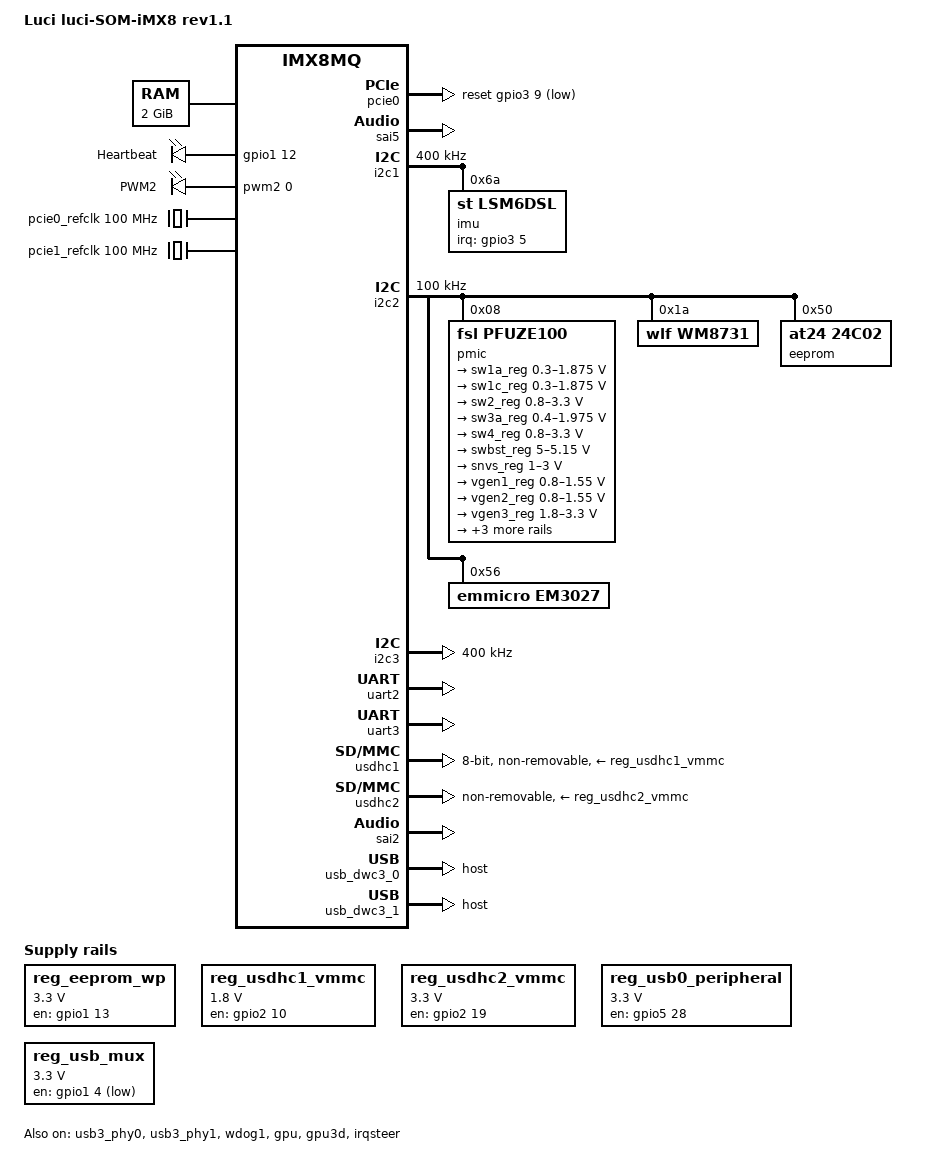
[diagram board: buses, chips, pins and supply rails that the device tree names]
/*
 * Copyright (C) LUCI, LLC. 2022
 *
 * This program is free software; you can redistribute it and/or
 * modify it under the terms of the GNU General Public License
 * as published by the Free Software Foundation; either version 2
 * of the License, or (at your option) any later version.
 *
 * This program is distributed in the hope that it will be useful,
 * but WITHOUT ANY WARRANTY; without even the implied warranty of
 * MERCHANTABILITY or FITNESS FOR A PARTICULAR PURPOSE.  See the
 * GNU General Public License for more details.
 */

/dts-v1/;

#include "../freescale/imx8mq.dtsi"

/ {
	model = "Luci luci-SOM-iMX8 rev1.1";
	compatible = "compulab,cl-som-imx8,rev1.1", "compulab,cl-som-imx8", "fsl,imx8mq";

    chosen {
        stdout-path = &uart3;
    };


	memory@40000000 {
		device_type = "memory";
		reg = <0x00000000 0x40000000 0 0x80000000>;
	};

	reserved-memory {
		#address-cells = <2>;
		#size-cells = <2>;
		ranges;

		rpmsg_reserved: rpmsg@0x78000000 {
			no-map;
			reg = <0 0x78000000 0 0x400000>;
		};
	};

	resmem: reserved-memory {
		#address-cells = <2>;
		#size-cells = <2>;
		ranges;

		/* global autoconfigured region for contiguous allocations */
		linux,cma {
			compatible = "shared-dma-pool";
			reusable;
			size = <0 0x18000000>;
			alloc-ranges = <0 0x40000000 0 0x40000000>;
			linux,cma-default;
		};
	};

	leds {
		compatible = "gpio-leds";
		heartbeat-led {
			label = "Heartbeat";
			gpios = <&gpio1 12 0>;
			linux,default-trigger = "heartbeat";
		};
	};

	regulators {
		compatible = "simple-bus";
		#address-cells = <1>;
		#size-cells = <0>;

		reg_eeprom_wp: eeprom_wp {
			compatible = "regulator-fixed";
			regulator-name = "eeprom_wp";
			regulator-min-microvolt = <3300000>;
			regulator-max-microvolt = <3300000>;
			gpio = <&gpio1 13 GPIO_ACTIVE_HIGH>;
			regulator-always-on;
			enable-active-high;
		};

		reg_usdhc1_vmmc: usdhc1_vmmc {
			compatible = "regulator-fixed";
			regulator-name = "USBHC1_VSD_1V8";
			regulator-min-microvolt = <1800000>;
			regulator-max-microvolt = <1800000>;
			gpio = <&gpio2 10 GPIO_ACTIVE_HIGH>;
			off-on-delay = <20000>;
			enable-active-high;
		};

		reg_usdhc2_vmmc: usdhc2_vmmc {
			compatible = "regulator-fixed";
			regulator-name = "USDHC2_VSD_3V3";
			regulator-min-microvolt = <3300000>;
			regulator-max-microvolt = <3300000>;
			gpio = <&gpio2 19 GPIO_ACTIVE_HIGH>;
			off-on-delay = <20000>;
			enable-active-high;
		};

		reg_usb0_peripheral: usb0_peripheral {
			compatible = "regulator-fixed";
			regulator-name = "usb0_peripheral";
			regulator-min-microvolt = <3300000>;
			regulator-max-microvolt = <3300000>;
			gpio = <&gpio5 28 GPIO_ACTIVE_HIGH>;
			startup-delay-us = <0>;
			enable-active-high;
		};

		reg_usb_mux: usb_mux {
			compatible = "regulator-fixed";
			pinctrl-names = "default";
			pinctrl-0 = <&pinctrl_usbimux1>;
			regulator-name = "usb_mux";
			regulator-min-microvolt = <3300000>;
			regulator-max-microvolt = <3300000>;
			gpio = <&gpio1 4 GPIO_ACTIVE_HIGH>;
			regulator-always-on;
		};
	};

	simple_sound: sound {
		compatible = "simple-audio-card";
		simple-audio-card,name = "compulab-imx8mq";
		simple-audio-card,widgets =
			"Headphone", "Headphone Jack",
			"Line", "Line Out",
			"Microphone", "Mic Jack",
			"Line", "Line In";
		simple-audio-card,routing =
			"Headphone Jack", "RHPOUT",
			"Headphone Jack", "LHPOUT",
			"MICIN", "Mic Bias",
			"Mic Bias", "Mic Jack";
		simple-audio-card,format = "i2s";
		simple-audio-card,bitclock-master = <&sound_master>;
		simple-audio-card,frame-master = <&sound_master>;
		simple-audio-card,bitclock-inversion;

		sound_master: simple-audio-card,cpu {
			sound-dai = <&sai2>;
			system-clock-frequency = <0>;
			system-clock-direction = "out";
		};

		sound_codec: simple-audio-card,codec {
			sound-dai = <&wm8731>;
			system-clock-direction = "in";
			system-clock-type = "mclk";
		};

	};

	pwmleds {
		compatible = "pwm-leds";

		ledpwm2 {
			label = "PWM2";
			pwms = <&pwm2 0 50000>;
			max-brightness = <255>;
		};
	};

	usb0_peripheral_en: usb0_peripheral_en@0 {
		compatible = "userspace-consumer-wrapper";
		comment = "USB0 mode swich host/peripheral enable/disable";

		regulator-name = "usb0_peripheral";
		us-folder-num = <0>;
	};

	pcie0_refclk: pcie0-refclk {
		compatible = "fixed-clock";
		#clock-cells = <0>;
		clock-frequency = <100000000>;
	};

	pcie1_refclk: pcie0-refclk {
		compatible = "fixed-clock";
		#clock-cells = <0>;
		clock-frequency = <100000000>;
	};

    /delete-node/sound-hdmi;
    /delete-node/sound-spdif;
    /delete-node/sound-hdmi-arc;
};

&iomuxc {
    pinctrl-names = "default";
    pinctrl-0 = <&pinctrl_hog>;

    cl-som-imx8 {
		pinctrl_hog: hoggrp {
			fsl,pins = <
				MX8MQ_IOMUXC_GPIO1_IO12_GPIO1_IO12	0x16
				MX8MQ_IOMUXC_GPIO1_IO13_GPIO1_IO13	0x16
			>;
		};

		pinctrl_i2c1: i2c1grp {
			fsl,pins = <
				MX8MQ_IOMUXC_I2C1_SCL_I2C1_SCL	0x4000007f
				MX8MQ_IOMUXC_I2C1_SDA_I2C1_SDA	0x4000007f
			>;
		};

		pinctrl_lsm6dsl: lsm6dsl {
			fsl,pins = <
				MX8MQ_IOMUXC_NAND_CLE_GPIO3_IO5 0x00
			>;
		};

		pinctrl_i2c2: i2c2grp {
			fsl,pins = <
				MX8MQ_IOMUXC_I2C2_SCL_I2C2_SCL	0x4000007f
				MX8MQ_IOMUXC_I2C2_SDA_I2C2_SDA	0x4000007f
			>;
		};

		pinctrl_i2c3: i2c3grp {
			fsl,pins = <
				MX8MQ_IOMUXC_I2C3_SCL_I2C3_SCL	0x4000007f
				MX8MQ_IOMUXC_I2C3_SDA_I2C3_SDA	0x4000007f
			>;
		};

		pinctrl_i2c4: i2c4grp {
			fsl,pins = <
				MX8MQ_IOMUXC_I2C4_SCL_I2C4_SCL	0x4000007f
				MX8MQ_IOMUXC_I2C4_SDA_I2C4_SDA	0x4000007f
			>;
		};

		pinctrl_ecspi1: ecspi1grp {
			fsl,pins = <
				MX8MQ_IOMUXC_ECSPI1_SCLK_ECSPI1_SCLK 	0x82
				MX8MQ_IOMUXC_ECSPI1_MOSI_ECSPI1_MOSI	0x82
				MX8MQ_IOMUXC_ECSPI1_MISO_ECSPI1_MISO	0x82
				MX8MQ_IOMUXC_ECSPI1_SS0_GPIO5_IO9	0x82
			>;
		};

		pinctrl_ecspi3: ecspi3grp {
			fsl,pins = <
				/* MX8MQ_IOMUXC_UART1_RXD_ECSPI3_SCLK	0x82
				MX8MQ_IOMUXC_UART1_TXD_ECSPI3_MOSI	0x82
				MX8MQ_IOMUXC_UART2_RXD_ECSPI3_MISO 	0x82
				MX8MQ_IOMUXC_UART2_TXD_GPIO5_IO25	0x82 */
			>;
		};

        // UBlox GNSS
		pinctrl_uart1: uart1grp {
			fsl,pins = <
				MX8MQ_IOMUXC_UART1_TXD_UART1_DCE_TX		0x79
				MX8MQ_IOMUXC_UART1_RXD_UART1_DCE_RX		0x79
			>;
		};

        // Sierra Wireless HL7800 / Bluetooth on Jody Module
		pinctrl_uart2: uart2grp {
			fsl,pins = <
				MX8MQ_IOMUXC_UART2_RXD_UART2_DCE_RX		0x49 /* SOM Pin 63 */
				MX8MQ_IOMUXC_UART2_TXD_UART2_DCE_TX		0x49 /* SOM Pin 58 */
				MX8MQ_IOMUXC_UART4_RXD_UART2_DCE_CTS_B	0x49 /* SOM Pin 5 */
				MX8MQ_IOMUXC_UART4_TXD_UART2_DCE_RTS_B	0x49 /* SOM Pin 3 */
			>;
		};

        // Debug Console
		pinctrl_uart3: uart3grp {
			fsl,pins = <
				MX8MQ_IOMUXC_UART3_TXD_UART3_DCE_TX		0x79
				MX8MQ_IOMUXC_UART3_RXD_UART3_DCE_RX		0x79
			>;
		};

		pinctrl_usdhc1_gpio: usdhc1grpgpio {
			fsl,pins = <
				MX8MQ_IOMUXC_SD1_RESET_B_GPIO2_IO10	0x1c
			>;
		};

		pinctrl_usdhc1: usdhc1grp {
			fsl,pins = <
				MX8MQ_IOMUXC_SD1_CLK_USDHC1_CLK			0x83
				MX8MQ_IOMUXC_SD1_CMD_USDHC1_CMD			0xc3
				MX8MQ_IOMUXC_SD1_DATA0_USDHC1_DATA0		0xc3
				MX8MQ_IOMUXC_SD1_DATA1_USDHC1_DATA1		0xc3
				MX8MQ_IOMUXC_SD1_DATA2_USDHC1_DATA2		0xc3
				MX8MQ_IOMUXC_SD1_DATA3_USDHC1_DATA3		0xc3
				MX8MQ_IOMUXC_SD1_DATA4_USDHC1_DATA4		0xc3
				MX8MQ_IOMUXC_SD1_DATA5_USDHC1_DATA5		0xc3
				MX8MQ_IOMUXC_SD1_DATA6_USDHC1_DATA6		0xc3
				MX8MQ_IOMUXC_SD1_DATA7_USDHC1_DATA7		0xc3
				MX8MQ_IOMUXC_SD1_STROBE_USDHC1_STROBE 		0x83
			>;
		};

		pinctrl_usdhc1_100mhz: usdhc1grp100mhz {
			fsl,pins = <
				MX8MQ_IOMUXC_SD1_CLK_USDHC1_CLK			0x8d
				MX8MQ_IOMUXC_SD1_CMD_USDHC1_CMD			0xcd
				MX8MQ_IOMUXC_SD1_DATA0_USDHC1_DATA0		0xcd
				MX8MQ_IOMUXC_SD1_DATA1_USDHC1_DATA1		0xcd
				MX8MQ_IOMUXC_SD1_DATA2_USDHC1_DATA2		0xcd
				MX8MQ_IOMUXC_SD1_DATA3_USDHC1_DATA3		0xcd
				MX8MQ_IOMUXC_SD1_DATA4_USDHC1_DATA4		0xcd
				MX8MQ_IOMUXC_SD1_DATA5_USDHC1_DATA5		0xcd
				MX8MQ_IOMUXC_SD1_DATA6_USDHC1_DATA6		0xcd
				MX8MQ_IOMUXC_SD1_DATA7_USDHC1_DATA7		0xcd
				MX8MQ_IOMUXC_SD1_STROBE_USDHC1_STROBE		0x8d
			>;
		};

		pinctrl_usdhc1_200mhz: usdhc1grp200mhz {
			fsl,pins = <
				MX8MQ_IOMUXC_SD1_CLK_USDHC1_CLK			0x9f
				MX8MQ_IOMUXC_SD1_CMD_USDHC1_CMD			0xdf
				MX8MQ_IOMUXC_SD1_DATA0_USDHC1_DATA0		0xdf
				MX8MQ_IOMUXC_SD1_DATA1_USDHC1_DATA1		0xdf
				MX8MQ_IOMUXC_SD1_DATA2_USDHC1_DATA2		0xdf
				MX8MQ_IOMUXC_SD1_DATA3_USDHC1_DATA3		0xdf
				MX8MQ_IOMUXC_SD1_DATA4_USDHC1_DATA4		0xdf
				MX8MQ_IOMUXC_SD1_DATA5_USDHC1_DATA5		0xdf
				MX8MQ_IOMUXC_SD1_DATA6_USDHC1_DATA6		0xdf
				MX8MQ_IOMUXC_SD1_DATA7_USDHC1_DATA7		0xdf
				MX8MQ_IOMUXC_SD1_STROBE_USDHC1_STROBE		0x9f
			>;
		};

		pinctrl_usdhc2: usdhc2grp {
			fsl,pins = <
				MX8MQ_IOMUXC_SD2_CLK_USDHC2_CLK			0x83
				MX8MQ_IOMUXC_SD2_CMD_USDHC2_CMD			0xc3
				MX8MQ_IOMUXC_SD2_DATA0_USDHC2_DATA0		0xc3
				MX8MQ_IOMUXC_SD2_DATA1_USDHC2_DATA1		0xc3
				MX8MQ_IOMUXC_SD2_DATA2_USDHC2_DATA2		0xc3
				MX8MQ_IOMUXC_SD2_DATA3_USDHC2_DATA3		0xc3
			>;
		};

		pinctrl_usdhc2_100mhz: usdhc2grp100mhz {
			fsl,pins = <
				MX8MQ_IOMUXC_SD2_CLK_USDHC2_CLK			0x8d
				MX8MQ_IOMUXC_SD2_CMD_USDHC2_CMD			0xcd
				MX8MQ_IOMUXC_SD2_DATA0_USDHC2_DATA0		0xcd
				MX8MQ_IOMUXC_SD2_DATA1_USDHC2_DATA1		0xcd
				MX8MQ_IOMUXC_SD2_DATA2_USDHC2_DATA2		0xcd
				MX8MQ_IOMUXC_SD2_DATA3_USDHC2_DATA3		0xcd
			>;
		};

		pinctrl_usdhc2_200mhz: usdhc2grp200mhz {
			fsl,pins = <
				MX8MQ_IOMUXC_SD2_CLK_USDHC2_CLK			0x9f
				MX8MQ_IOMUXC_SD2_CMD_USDHC2_CMD			0xdf
				MX8MQ_IOMUXC_SD2_DATA0_USDHC2_DATA0		0xdf
				MX8MQ_IOMUXC_SD2_DATA1_USDHC2_DATA1		0xdf
				MX8MQ_IOMUXC_SD2_DATA2_USDHC2_DATA2		0xdf
				MX8MQ_IOMUXC_SD2_DATA3_USDHC2_DATA3		0xdf
			>;
		};

		pinctrl_sai2: sai2grp {
			fsl,pins = <
				MX8MQ_IOMUXC_SAI2_TXFS_SAI2_TX_SYNC	0xd6
				MX8MQ_IOMUXC_SAI2_TXC_SAI2_TX_BCLK	0xd6
				MX8MQ_IOMUXC_SAI2_MCLK_SAI2_MCLK	0xd6
				MX8MQ_IOMUXC_SAI2_TXD0_SAI2_TX_DATA0	0xd6
				MX8MQ_IOMUXC_GPIO1_IO08_GPIO1_IO8	0xd6
			>;
		};

		pinctrl_usbimux1: usbmux1grp {
			fsl,pins = <
				MX8MQ_IOMUXC_GPIO1_IO04_GPIO1_IO4	0x16
			>;
		};

		pinctrl_wdog: wdoggrp {
			fsl,pins = <
				MX8MQ_IOMUXC_GPIO1_IO02_WDOG1_WDOG_B 0xc6
			>;
		};

		pinctrl_pcie0: pcie0grp {
			fsl,pins = <
				MX8MQ_IOMUXC_I2C4_SCL_PCIE1_CLKREQ_B	0x76
				MX8MQ_IOMUXC_NAND_DATA03_GPIO3_IO9	  	0x16
				MX8MQ_IOMUXC_NAND_DATA06_GPIO3_IO12   	0x60 /* Pull-up enabled, output driver disabled */
			>;
		};

		pinctrl_sai5: sai5grp {
			fsl,pins = <
				MX8MQ_IOMUXC_SAI1_TXFS_SAI5_TX_SYNC 	0xd6
				MX8MQ_IOMUXC_SAI1_TXC_SAI5_TX_BCLK		0xd6
				MX8MQ_IOMUXC_SAI1_TXD0_SAI5_TX_DATA0 	0xd6
				MX8MQ_IOMUXC_SAI1_RXD0_SAI5_RX_DATA0 	0xd6
			>;
		};
    };
};

&pcie0 {
	pinctrl-names = "default";
	pinctrl-0 = <&pinctrl_pcie0>;
	reset-gpio = <&gpio3 9 GPIO_ACTIVE_LOW>;
	clocks = <&clk IMX8MQ_CLK_PCIE1_ROOT>,
		 <&clk IMX8MQ_CLK_PCIE1_AUX>,
		 <&clk IMX8MQ_CLK_PCIE1_PHY>,
		 <&pcie0_refclk>;
	clock-names = "pcie", "pcie_aux", "pcie_phy", "pcie_bus";
	assigned-clocks = <&clk IMX8MQ_CLK_PCIE1_AUX>,
			  <&clk IMX8MQ_CLK_PCIE1_PHY>,
			  <&clk IMX8MQ_CLK_PCIE1_CTRL>;
	assigned-clock-rates = <10000000>, <100000000>, <250000000>;
	assigned-clock-parents = <&clk IMX8MQ_SYS2_PLL_50M>,
				 <&clk IMX8MQ_SYS2_PLL_100M>,
				 <&clk IMX8MQ_SYS2_PLL_250M>;
	hard-wired = <1>;
	status = "okay";
};

&sai5 {
	// TODO: KJL - I have no idea if the configuration below is correct for PCM audio.
	pinctrl-names = "default";
	pinctrl-0 = <&pinctrl_sai5>;
	assigned-clocks = <&clk IMX8MQ_CLK_SAI5>;
	assigned-clock-parents = <&clk IMX8MQ_AUDIO_PLL1_OUT>;
	assigned-clock-rates = <49152000>;
	clocks = <&clk IMX8MQ_CLK_SAI5_IPG>, <&clk IMX8MQ_CLK_DUMMY>,
		<&clk IMX8MQ_CLK_SAI5_ROOT>, <&clk IMX8MQ_CLK_DUMMY>,
		<&clk IMX8MQ_CLK_DUMMY>, <&clk IMX8MQ_AUDIO_PLL1_OUT>,
		<&clk IMX8MQ_AUDIO_PLL2_OUT>;
	clock-names = "bus", "mclk0", "mclk1", "mclk2", "mclk3", "pll8k", "pll11k";
	fsl,sai-asynchronous;
	dmas = <&sdma2 2 25 0>, <&sdma2 3 25 0>;
	status = "okay";
};

&i2c1 {
	clock-frequency = <400000>;
	pinctrl-names = "default";
	pinctrl-0 = <&pinctrl_i2c1>;
	status = "okay";

	imu@6a {
		compatible = "st,lsm6dsl";
		reg = <0x6a>;
		interrupt-parent = <&gpio3>;
		interrupts = <5 IRQ_TYPE_EDGE_RISING>;
		pinctrl-names = "default";
		pinctrl-0 = <&pinctrl_lsm6dsl>;
	};
};

&i2c2 {
	clock-frequency = <100000>;
	pinctrl-names = "default";
	pinctrl-0 = <&pinctrl_i2c2>;
	status = "okay";

	pmic: pfuze100@8 {
		compatible = "fsl,pfuze100";
		reg = <0x8>;

		regulators {
			sw1a_reg: sw1ab {
				regulator-min-microvolt = <300000>;
				regulator-max-microvolt = <1875000>;
				regulator-always-on;
			};

			sw1c_reg: sw1c {
				regulator-min-microvolt = <300000>;
				regulator-max-microvolt = <1875000>;
				regulator-always-on;
			};

			sw2_reg: sw2 {
				regulator-min-microvolt = <800000>;
				regulator-max-microvolt = <3300000>;
				regulator-always-on;
			};

			sw3a_reg: sw3ab {
				regulator-min-microvolt = <400000>;
				regulator-max-microvolt = <1975000>;
				regulator-always-on;
			};

			sw4_reg: sw4 {
				regulator-min-microvolt = <800000>;
				regulator-max-microvolt = <3300000>;
				regulator-always-on;
			};

			swbst_reg: swbst {
				regulator-min-microvolt = <5000000>;
				regulator-max-microvolt = <5150000>;
			};

			snvs_reg: vsnvs {
				regulator-min-microvolt = <1000000>;
				regulator-max-microvolt = <3000000>;
				regulator-always-on;
			};

			vref_reg: vrefddr {
				regulator-always-on;
			};

			vgen1_reg: vgen1 {
				regulator-min-microvolt = <800000>;
				regulator-max-microvolt = <1550000>;
			};

			vgen2_reg: vgen2 {
				regulator-min-microvolt = <800000>;
				regulator-max-microvolt = <1550000>;
				regulator-always-on;
			};

			vgen3_reg: vgen3 {
				regulator-min-microvolt = <1800000>;
				regulator-max-microvolt = <3300000>;
				regulator-always-on;
			};

			vgen4_reg: vgen4 {
				regulator-min-microvolt = <1800000>;
				regulator-max-microvolt = <3300000>;
				regulator-always-on;
			};

			vgen5_reg: vgen5 {
				regulator-min-microvolt = <1800000>;
				regulator-max-microvolt = <3300000>;
				regulator-always-on;
			};

			vgen6_reg: vgen6 {
				regulator-min-microvolt = <1800000>;
				regulator-max-microvolt = <3300000>;
			};
		};
	};

	wm8731: wm8731@1a {
		#sound-dai-cells = <0>;
		compatible = "wlf,wm8731";
		reg = <0x1a>;
		status = "okay";
	};

	eeprom@50 {
		compatible = "at24,24c02";
		reg = <0x50>;
		pagesize = <16>;
	};

	em3027: rtc@56 {
		compatible = "emmicro,em3027";
		reg = <0x56>;
	};
};

&i2c3 {
    clock-frequency = <400000>;
    pinctrl-names = "default";
    pinctrl-0 = <&pinctrl_i2c3>;
    status = "okay";
};

&uart1 {
    status = "disabled";
};

&uart2 { /* Sierra Wireless HL7800 */
    pinctrl-names = "default";
    pinctrl-0 = <&pinctrl_uart2>;
    assigned-clocks = <&clk IMX8MQ_CLK_UART2>;
    assigned-clock-parents = <&clk IMX8MQ_SYS2_PLL_100M>;
    fsl,uart-has-rtscts;
    status = "okay";
};

&uart3 { /* console */
	pinctrl-names = "default";
	pinctrl-0 = <&pinctrl_uart3>;
	assigned-clocks = <&clk IMX8MQ_CLK_UART3>;
	assigned-clock-parents = <&clk IMX8MQ_CLK_25M>;
	status = "okay";
};

&uart4 {
    status = "disabled";
};

&ecspi3 {
	pinctrl-names = "default";
	pinctrl-0 = <&pinctrl_ecspi3>;
	status = "disabled";
};

&usdhc1 {
	assigned-clocks = <&clk IMX8MQ_CLK_USDHC1>;
	assigned-clock-rates = <400000000>;
	pinctrl-names = "default", "state_100mhz", "state_200mhz";
	pinctrl-0 = <&pinctrl_usdhc1>, <&pinctrl_usdhc1_gpio>;
	pinctrl-1 = <&pinctrl_usdhc1_100mhz>, <&pinctrl_usdhc1_gpio>;
	pinctrl-2 = <&pinctrl_usdhc1_200mhz>, <&pinctrl_usdhc1_gpio>;
	bus-width = <8>;
	non-removable;
	vmmc-supply = <&reg_usdhc1_vmmc>;
	status = "okay";
};

&usdhc2 { // SD card / Panasonic WiFi module
	assigned-clocks = <&clk IMX8MQ_CLK_USDHC2>;
	assigned-clock-rates = <200000000>;
	pinctrl-names = "default", "state_100mhz", "state_200mhz";
	pinctrl-0 = <&pinctrl_usdhc2>;
	pinctrl-1 = <&pinctrl_usdhc2_100mhz>;
	pinctrl-2 = <&pinctrl_usdhc2_200mhz>;
    non-removable;
	vmmc-supply = <&reg_usdhc2_vmmc>;
	no-1-8-v;
	status = "okay";
};

&sai2 {
	pinctrl-names = "default";
	pinctrl-0 = <&pinctrl_sai2>;
	assigned-clocks = <&clk IMX8MQ_CLK_SAI2>;
	assigned-clock-parents = <&clk IMX8MQ_AUDIO_PLL1_OUT>;
	assigned-clock-rates = <49152000>;
	fsl,sai-asynchronous;
	status = "okay";
};

&usb3_phy0 {
	status = "okay";
};

&usb_dwc3_0 {
	status = "okay";
	dr_mode = "host";
};

&usb3_phy1 {
	status = "okay";
};

&usb_dwc3_1 {
	status = "okay";
	dr_mode = "host";
};

&pgc_gpu {
	power-supply = <&sw1a_reg>;
};

&pgc_vpu {
	power-supply = <&sw1c_reg>;
};

&wdog1 {
	pinctrl-names = "default";
	pinctrl-0 = <&pinctrl_wdog>;
	fsl,ext-reset-output;
	status = "okay";
};

&A53_0 {
	/delete-property/ dc-supply;
};

&gpu {
    status = "okay";
};

&gpu3d {
	status = "okay";
};

&irqsteer {
	status = "okay";
};

&dcss {
	status = "disabled";
};

&hdmi {
    status = "disabled";
};

&snvs_rtc {
	status = "disabled";
};

&{/busfreq} {
	// Disable busfreq since the driver keeps changing the memory frequency which is causing 
	// performance issues for LUCI.
	status = "disabled";
};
